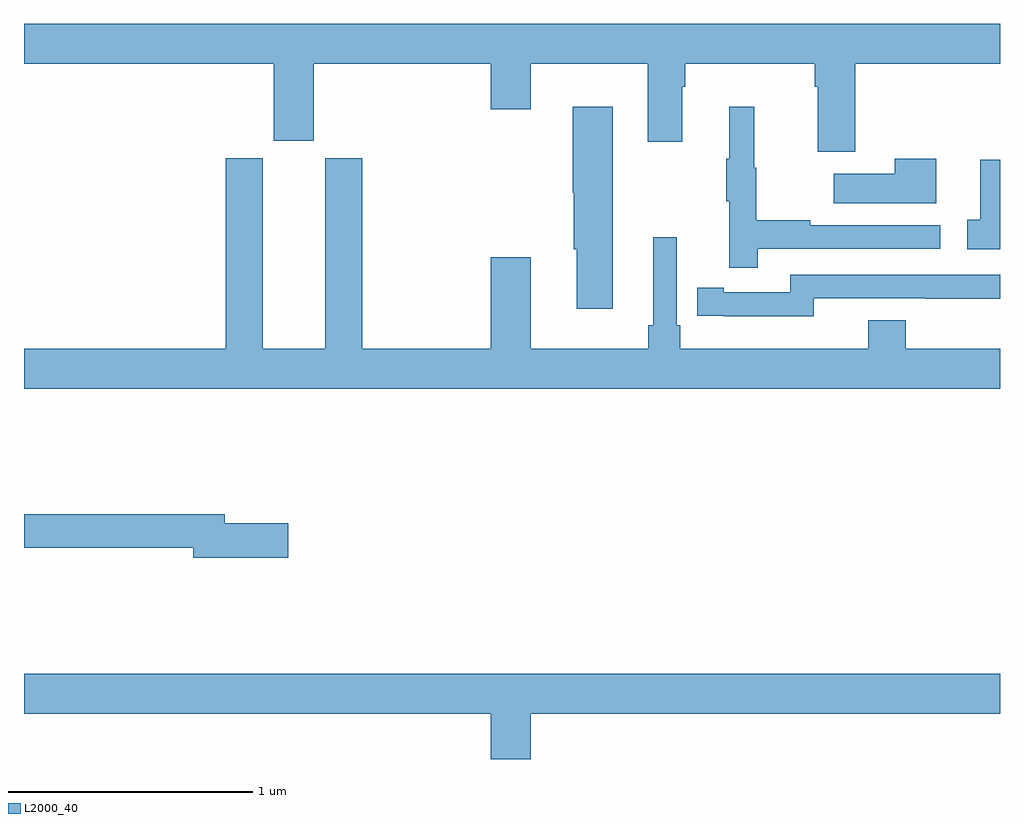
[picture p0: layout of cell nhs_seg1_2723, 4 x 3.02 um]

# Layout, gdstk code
import gdstk
lib = gdstk.Library(unit=1e-6, precision=1e-09)
def P(c, l, *ps):  # polygons
    for p in ps: c.add(gdstk.Polygon(p, *l))
L2000_40 = (2000, 40)

nhs_seg1_2723 = lib.new_cell('nhs_seg1_2723')
P(nhs_seg1_2723, L2000_40, [(262.406,529.088),(263,529.088),(263,529.252),(259,529.252),(259,529.088),(260.024,529.088),(260.024,528.771),(260.188,528.771),(260.188,529.088),(260.912,529.088),(260.912,528.9),(261.076,528.9),(261.076,529.088),(261.557,529.088),(261.557,528.768),(261.697,528.768),(261.697,528.992),(261.71,528.992),(261.71,529.088),(262.241,529.088),(262.241,528.992),(262.253,528.992),(262.253,528.726),(262.406,528.726)],
  [(261.412,528.91),(261.248,528.91),(261.248,528.558),(261.254,528.558),(261.254,528.327),(261.266,528.327),(261.266,528.084),(261.412,528.084)],
  [(262.007,528.33),(262.756,528.33),(262.756,528.426),(262.223,528.426),(262.223,528.446),(262,528.446),(262,528.66),(261.992,528.66),(261.992,528.91),(261.89,528.91),(261.89,528.697),(261.879,528.697),(261.879,528.523),(261.89,528.523),(261.89,528.252),(262.007,528.252)],
  [(263,527.92),(262.613,527.92),(262.613,528.037),(262.46,528.037),(262.46,527.92),(261.689,527.92),(261.689,528.016),(261.675,528.016),(261.675,528.376),(261.578,528.376),(261.578,528.016),(261.559,528.016),(261.559,527.92),(261.076,527.92),(261.076,528.295),(260.912,528.295),(260.912,527.92),(260.387,527.92),(260.387,528.699),(260.234,528.699),(260.234,527.92),(259.978,527.92),(259.978,528.699),(259.826,528.699),(259.826,527.92),(259,527.92),(259,527.756),(263,527.756)],
  [(262.738,528.697),(262.568,528.697),(262.568,528.637),(262.319,528.637),(262.319,528.515),(262.738,528.515)],
  [(263,528.694),(262.919,528.694),(262.919,528.447),(262.866,528.447),(262.866,528.327),(263,528.327)],
  [(262.236,528.126),(262.696,528.126),(262.696,528.125),(263,528.125),(263,528.222),(262.14,528.222),(262.14,528.15),(261.868,528.15),(261.868,528.17),(261.76,528.17),(261.76,528.054),(261.868,528.054),(261.868,528.053),(262.236,528.053)],
  [(260.083,527.204),(259.822,527.204),(259.822,527.24),(259,527.24),(259,527.104),(259.694,527.104),(259.694,527.062),(260.083,527.062)],
  [(261.076,526.424),(263,526.424),(263,526.588),(259,526.588),(259,526.424),(260.912,526.424),(260.912,526.236),(261.076,526.236)])

lib.write_gds('nhs_seg1_2723.gds')
